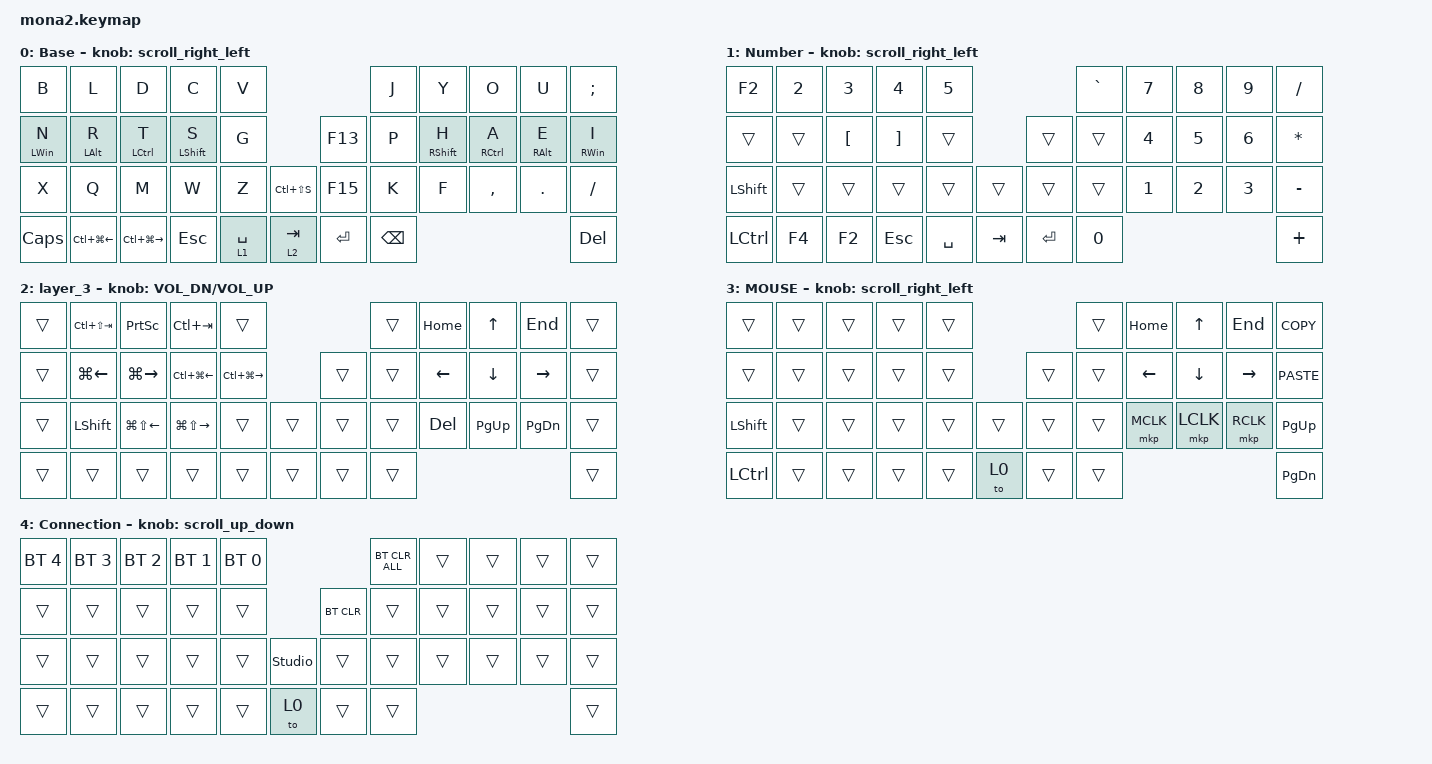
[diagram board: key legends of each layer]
#include <input/processors.dtsi>
#include <dt-bindings/zmk/input_transform.h>
#include <zephyr/dt-bindings/input/input-event-codes.h>
#include <behaviors.dtsi>
#include <dt-bindings/zmk/bt.h>
#include <dt-bindings/zmk/keys.h>
#include <dt-bindings/zmk/pointing.h>

#define ZMK_POINTING_DEFAULT_SCRL_VAL 100
#define MOUSE 5
#define SCROLL 6

&mt {
    flavor = "balanced";
    quick-tap-ms = <0>;
};

&lt {
    quick-tap-ms = <300>;
    flavor = "balanced";
};

/ {
    combos {
        compatible = "zmk,combos";

        MouseLayer {
            bindings = <&tog 3>;
            key-positions = <41 39>;
        };

        ToLayer6 {
            bindings = <&to 4>;
            key-positions = <40 41>;
        };
    };

    macros {
        to_layer_0: to_layer_0 {
            compatible = "zmk,behavior-macro-one-param";
            #binding-cells = <1>;
            bindings = <&to 0 &macro_param_1to1 &kp MACRO_PLACEHOLDER>;
            label = "TO_LAYER_0";
        };
    };

    behaviors {
        lt_to_layer_0: lt_to_layer_0 {
            compatible = "zmk,behavior-hold-tap";
            label = "LAYER_TAP_TO_0";
            bindings = <&mo>, <&to_layer_0>;

            #binding-cells = <2>;
            tapping-term-ms = <200>;
        };

        scroll_up_down: mouse_wheel_up_down {
            compatible = "zmk,behavior-sensor-rotate";
            #sensor-binding-cells = <0>;
            bindings = <&msc SCRL_DOWN>, <&msc SCRL_UP>;

            tap-ms = <20>;
        };

        scroll_right_left: mouse_wheel_right_left {
            compatible = "zmk,behavior-sensor-rotate";
            #sensor-binding-cells = <0>;
            bindings = <&msc SCRL_LEFT>, <&msc SCRL_RIGHT>;

            tap-ms = <20>;
        };
    };

    keymap {
        compatible = "zmk,keymap";

        Base {
            bindings = <
&kp B           &kp L                   &kp D              &kp C             &kp V                                           &kp J          &kp Y              &kp O        &kp U            &kp SEMICOLON
&mt LEFT_WIN N  &mt LEFT_ALT R          &mt LCTRL T        &mt LEFT_SHIFT S  &kp G                                &kp F13    &kp P          &mt RIGHT_SHIFT H  &mt RCTRL A  &mt RIGHT_ALT E  &mt RIGHT_WIN I
&kp X           &kp Q                   &kp M              &kp W             &kp Z        &kp LC(LS(S))           &kp F15    &kp K          &kp F              &kp COMMA    &kp DOT          &kp SLASH
&kp CAPS        &kp LC(LG(LEFT_ARROW))  &kp LC(LG(RIGHT))  &kp ESCAPE        &lt 1 SPACE  &lt_to_layer_0 2 TAB    &kp ENTER  &kp BACKSPACE                                                   &kp DELETE
            >;

            sensor-bindings = <&scroll_right_left>;
        };

        Number {
            bindings = <
&kp F2          &kp NUMBER_2  &kp NUMBER_3      &kp NUMBER_4       &kp NUMBER_5                        &kp GRAVE  &kp NUMBER_7  &kp NUMBER_8  &kp NUMBER_9  &kp SLASH
&trans          &trans        &kp LEFT_BRACKET  &kp RIGHT_BRACKET  &trans                   &trans     &trans     &kp NUMBER_4  &kp NUMBER_5  &kp NUMBER_6  &kp ASTERISK
&kp LEFT_SHIFT  &trans        &trans            &trans             &trans        &trans     &trans     &trans     &kp NUMBER_1  &kp NUMBER_2  &kp NUMBER_3  &kp MINUS
&kp LCTRL       &kp F4        &kp F2            &kp ESCAPE         &kp SPACE     &kp TAB    &kp ENTER  &kp N0                                               &kp PLUS
            >;

            sensor-bindings = <&scroll_right_left>;
        };

        layer_3 {
            bindings = <
&trans  &kp LC(LS(TAB))     &kp PRINTSCREEN         &kp LC(TAB)              &trans                                     &trans  &kp HOME        &kp UP_ARROW    &kp END          &trans
&trans  &kp LG(LEFT_ARROW)  &kp LG(RIGHT_ARROW)     &kp LC(LG(LEFT_ARROW))   &kp LC(LG(RIGHT_ARROW))            &trans  &trans  &kp LEFT_ARROW  &kp DOWN_ARROW  &kp RIGHT_ARROW  &trans
&trans  &kp LEFT_SHIFT      &kp LG(LS(LEFT_ARROW))  &kp LG(LS(RIGHT_ARROW))  &trans                   &trans    &trans  &trans  &kp DELETE      &kp PAGE_UP     &kp PAGE_DOWN    &trans
&trans  &trans              &trans                  &trans                   &trans                   &trans    &trans  &trans                                                   &trans
            >;

            sensor-bindings = <&inc_dec_kp C_VOL_DN C_VOL_UP>;
        };

        MOUSE {
            bindings = <
&trans          &trans  &trans  &trans  &trans                    &trans  &kp HOME        &kp UP_ARROW    &kp END          &kp K_COPY
&trans          &trans  &trans  &trans  &trans            &trans  &trans  &kp LEFT_ARROW  &kp DOWN_ARROW  &kp RIGHT_ARROW  &kp K_PASTE
&kp LEFT_SHIFT  &trans  &trans  &trans  &trans  &trans    &trans  &trans  &mkp MCLK       &mkp LCLK       &mkp RCLK        &kp PAGE_UP
&kp LCTRL       &trans  &trans  &trans  &trans  &to 0     &trans  &trans                                                   &kp PAGE_DOWN
            >;

            sensor-bindings = <&scroll_right_left>;
        };

        Connection {
            bindings = <
&bt BT_SEL 4  &bt BT_SEL 3  &bt BT_SEL 2  &bt BT_SEL 1  &bt BT_SEL 0                                &bt BT_CLR_ALL  &trans  &trans  &trans  &trans
&trans        &trans        &trans        &trans        &trans                          &bt BT_CLR  &trans          &trans  &trans  &trans  &trans
&trans        &trans        &trans        &trans        &trans        &studio_unlock    &trans      &trans          &trans  &trans  &trans  &trans
&trans        &trans        &trans        &trans        &trans        &to 0             &trans      &trans                                  &trans
            >;

            sensor-bindings = <&scroll_up_down>;
        };
    };
};
